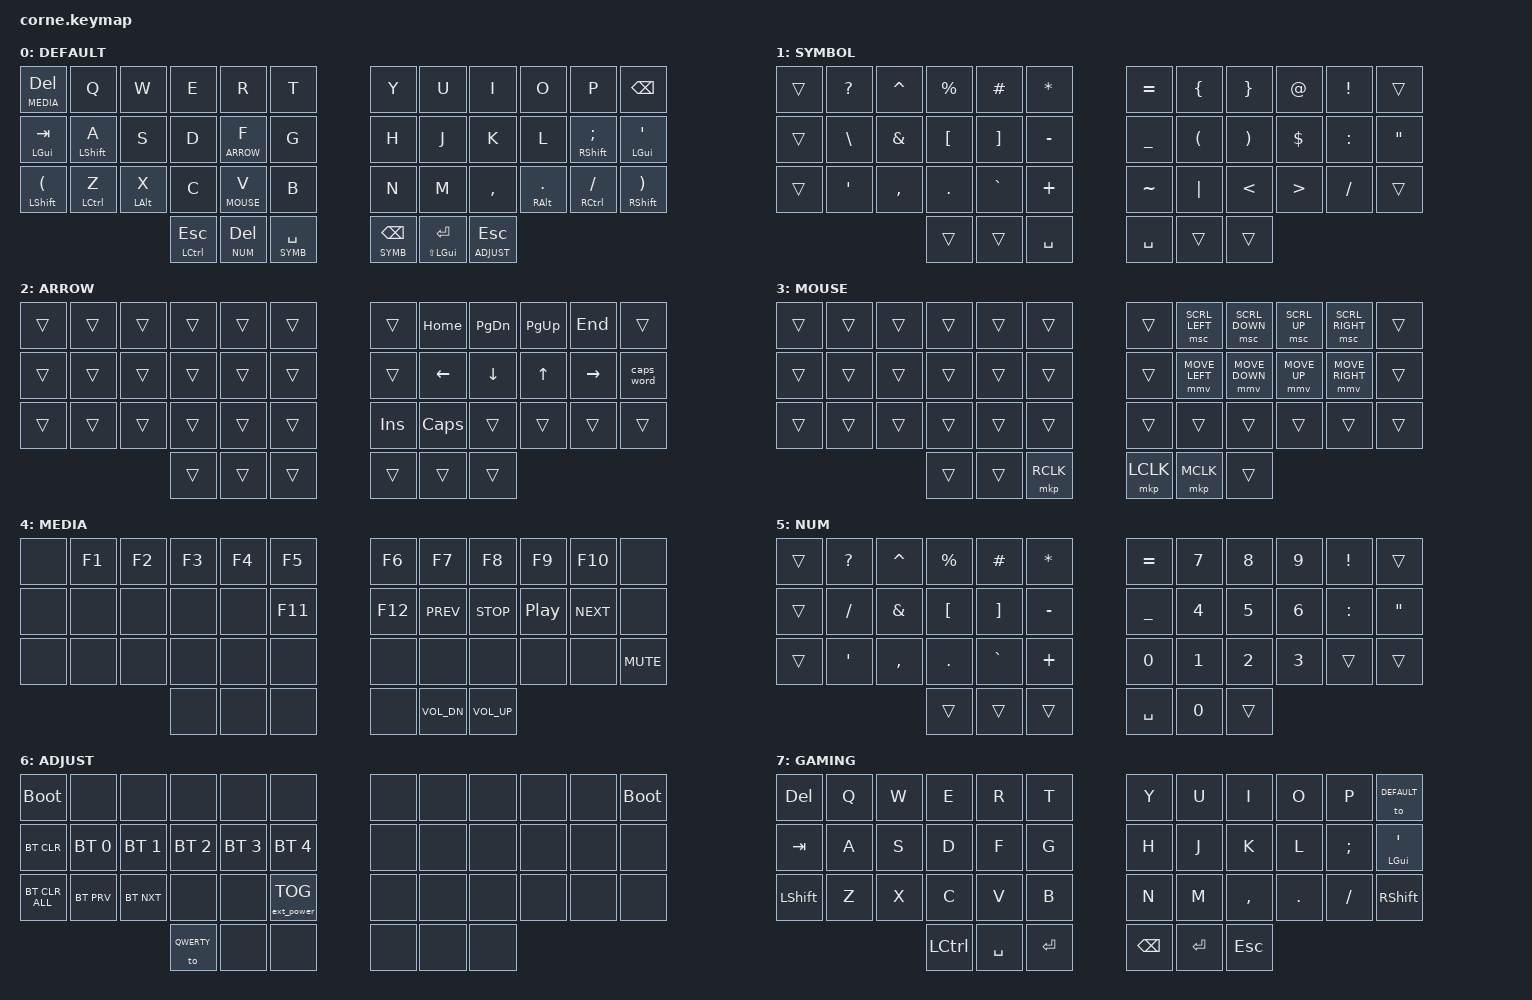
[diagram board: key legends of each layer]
#include <behaviors.dtsi>
#include <dt-bindings/zmk/keys.h>
#include <dt-bindings/zmk/bt.h>
#include <dt-bindings/zmk/ext_power.h>
#include <dt-bindings/zmk/pointing.h>

#define DEFAULT 0
#define SYMB    1
#define ARROW   2
#define MOUSE   3
#define MEDIA   4
#define NUM     5
#define ADJUST  6
#define QWERTY  7

/ {
    behaviors {
        hm: homerow_mod {
            compatible = "zmk,behavior-hold-tap";
            #binding-cells = <2>;
            tapping-term-ms = <200>;
            quick-tap-ms = <150>;
            flavor = "tap-preferred";
            bindings = <&kp>, <&kp>;
            // apparently deprecated
            // global-quick-tap;
            require-prior-idle-ms = <150>; // ← new syntax, explicit timing
        };

        sc_lspo: space_cadet_left {
            compatible = "zmk,behavior-hold-tap";
            #binding-cells = <2>;
            tapping-term-ms = <200>;
            flavor = "balanced";
            bindings = <&kp>, <&kp>;
        };

        rlt: repeat_layer_tap {
            compatible = "zmk,behavior-hold-tap";
            #binding-cells = <2>;
            flavor = "tap-preferred";
            tapping-term-ms = <200>;
            quick-tap-ms = <200>;
            bindings = <&mo>, <&kp>;
        };

    };

    keymap {
        compatible = "zmk,keymap";

        // ==========================================
        // Layer 0: DEFAULT
        // ==========================================
        default_layer {
            display-name = "DEFAULT";
            bindings = <
 // ╭──────────────────┬──────────────┬──────────────┬──────────────┬──────────────┬──────────────╮   ╭──────────────┬──────────────┬──────────────┬──────────────┬──────────────┬──────────────╮
      &rlt MEDIA DEL     &kp Q          &kp W          &kp E          &kp R          &kp T              &kp Y          &kp U          &kp I          &kp O          &kp P          &kp BSPC
 // ├──────────────────┼──────────────┼──────────────┼──────────────┼──────────────┼──────────────┤   ├──────────────┼──────────────┼──────────────┼──────────────┼──────────────┼──────────────┤
      &hm LGUI TAB       &hm LSHFT A    &kp S          &kp D          &rlt ARROW F   &kp G              &kp H          &kp J          &kp K          &kp L          &hm RSHFT SEMI &hm LGUI SQT
 // ├──────────────────┼──────────────┼──────────────┼──────────────┼──────────────┼──────────────┤   ├──────────────┼──────────────┼──────────────┼──────────────┼──────────────┼──────────────┤
      &sc_lspo LSHFT LPAR &hm LCTRL Z   &hm LALT X     &kp C          &rlt MOUSE V   &kp B              &kp N          &kp M          &kp COMMA      &hm RALT DOT   &hm RCTRL FSLH &sc_lspo RSHFT RPAR
 // ╰──────────────────┴──────────────┴──────────────┼──────────────┼──────────────┼──────────────┤   ├──────────────┼──────────────┼──────────────┼──────────────┴──────────────┴──────────────╯
                                                       &hm LCTRL ESC  &rlt NUM DEL   &rlt SYMB SPACE    &rlt SYMB BSPC &hm LS(LGUI) RET &rlt ADJUST ESC
 //                                                  ╰──────────────┴──────────────┴──────────────╯   ╰──────────────┴──────────────┴──────────────╯
            >;
        };

        // ==========================================
        // Layer 1: SYMB
        // ==========================================
        symb_layer {
            display-name = "SYMBOL";
            bindings = <
 // ╭──────────────────┬──────────────┬──────────────┬──────────────┬──────────────┬──────────────╮   ╭──────────────┬──────────────┬──────────────┬──────────────┬──────────────┬──────────────╮
      &trans             &kp QMARK      &kp CARET      &kp PRCNT      &kp HASH       &kp ASTRK          &kp EQUAL      &kp LBRC       &kp RBRC       &kp AT         &kp EXCL       &trans
 // ├──────────────────┼──────────────┼──────────────┼──────────────┼──────────────┼──────────────┤   ├──────────────┼──────────────┼──────────────┼──────────────┼──────────────┼──────────────┤
      &trans             &kp BSLH       &kp AMPS       &kp LBKT       &kp RBKT       &kp MINUS          &kp UNDER      &kp LPAR       &kp RPAR       &kp DLLR       &kp COLON      &kp DQT
 // ├──────────────────┼──────────────┼──────────────┼──────────────┼──────────────┼──────────────┤   ├──────────────┼──────────────┼──────────────┼──────────────┼──────────────┼──────────────┤
      &trans             &kp SQT        &kp COMMA      &kp DOT        &kp GRAVE      &kp PLUS           &kp TILDE      &kp PIPE       &kp LT         &kp GT         &kp FSLH       &trans
 // ╰──────────────────┴──────────────┴──────────────┼──────────────┼──────────────┼──────────────┤   ├──────────────┼──────────────┼──────────────┼──────────────┴──────────────┴──────────────╯
                                                       &trans         &trans         &kp SPACE           &kp SPACE      &trans         &trans
 //                                                  ╰──────────────┴──────────────┴──────────────╯   ╰──────────────┴──────────────┴──────────────╯
            >;
        };

        // ==========================================
        // Layer 2: ARROW (no repeat key, caps word enabled)
        // ==========================================
        arrow_layer {
            display-name = "ARROW";
            bindings = <
 // ╭──────────────────┬──────────────┬──────────────┬──────────────┬──────────────┬──────────────╮   ╭──────────────┬──────────────┬──────────────┬──────────────┬──────────────┬──────────────╮
      &trans             &trans         &trans         &trans         &trans         &trans              &trans         &kp HOME       &kp PG_DN      &kp PG_UP      &kp END        &trans
 // ├──────────────────┼──────────────┼──────────────┼──────────────┼──────────────┼──────────────┤   ├──────────────┼──────────────┼──────────────┼──────────────┼──────────────┼──────────────┤
      &trans             &trans         &trans         &trans         &trans         &trans              &trans         &kp LEFT       &kp DOWN       &kp UP         &kp RIGHT      &caps_word
 // ├──────────────────┼──────────────┼──────────────┼──────────────┼──────────────┼──────────────┤   ├──────────────┼──────────────┼──────────────┼──────────────┼──────────────┼──────────────┤
      &trans             &trans         &trans         &trans         &trans         &trans              &kp INS        &kp CAPS       &trans         &trans         &trans         &trans
 // ╰──────────────────┴──────────────┴──────────────┼──────────────┼──────────────┼──────────────┤   ├──────────────┼──────────────┼──────────────┼──────────────┴──────────────┴──────────────╯
                                                       &trans         &trans         &trans              &trans         &trans         &trans
 //                                                  ╰──────────────┴──────────────┴──────────────╯   ╰──────────────┴──────────────┴──────────────╯
            >;
        };

        // ==========================================
        // Layer 3: MOUSE (requires CONFIG_ZMK_POINTING=y)
        // ==========================================
        mouse_layer {
            display-name = "MOUSE";
            bindings = <
 // ╭──────────────────┬──────────────┬──────────────┬──────────────┬──────────────┬──────────────╮   ╭──────────────┬──────────────┬──────────────┬──────────────┬──────────────┬──────────────╮
      &trans             &trans         &trans         &trans         &trans         &trans              &trans         &msc SCRL_LEFT &msc SCRL_DOWN &msc SCRL_UP   &msc SCRL_RIGHT &trans
 // ├──────────────────┼──────────────┼──────────────┼──────────────┼──────────────┼──────────────┤   ├──────────────┼──────────────┼──────────────┼──────────────┼──────────────┼──────────────┤
      &trans             &trans         &trans         &trans         &trans         &trans              &trans         &mmv MOVE_LEFT &mmv MOVE_DOWN &mmv MOVE_UP   &mmv MOVE_RIGHT &trans
 // ├──────────────────┼──────────────┼──────────────┼──────────────┼──────────────┼──────────────┤   ├──────────────┼──────────────┼──────────────┼──────────────┼──────────────┼──────────────┤
      &trans             &trans         &trans         &trans         &trans         &trans              &trans         &trans         &trans         &trans         &trans         &trans
 // ╰──────────────────┴──────────────┴──────────────┼──────────────┼──────────────┼──────────────┤   ├──────────────┼──────────────┼──────────────┼──────────────┴──────────────┴──────────────╯
                                                       &trans         &trans         &mkp RCLK           &mkp LCLK      &mkp MCLK      &trans
 //                                                  ╰──────────────┴──────────────┴──────────────╯   ╰──────────────┴──────────────┴──────────────╯
            >;
        };

        // ==========================================
        // Layer 4: MEDIA
        // ==========================================
        media_layer {
            display-name = "MEDIA";
            bindings = <
 // ╭──────────────────┬──────────────┬──────────────┬──────────────┬──────────────┬──────────────╮   ╭──────────────┬──────────────┬──────────────┬──────────────┬──────────────┬──────────────╮
      &none              &kp F1         &kp F2         &kp F3         &kp F4         &kp F5              &kp F6         &kp F7         &kp F8         &kp F9         &kp F10        &none
 // ├──────────────────┼──────────────┼──────────────┼──────────────┼──────────────┼──────────────┤   ├──────────────┼──────────────┼──────────────┼──────────────┼──────────────┼──────────────┤
      &none              &none          &none          &none          &none          &kp F11             &kp F12        &kp C_PREV     &kp C_STOP     &kp C_PP       &kp C_NEXT     &none
 // ├──────────────────┼──────────────┼──────────────┼──────────────┼──────────────┼──────────────┤   ├──────────────┼──────────────┼──────────────┼──────────────┼──────────────┼──────────────┤
      &none              &none          &none          &none          &none          &none               &none          &none          &none          &none          &none          &kp C_MUTE
 // ╰──────────────────┴──────────────┴──────────────┼──────────────┼──────────────┼──────────────┤   ├──────────────┼──────────────┼──────────────┼──────────────┴──────────────┴──────────────╯
                                                       &none          &none          &none               &none          &kp C_VOL_DN   &kp C_VOL_UP
 //                                                  ╰──────────────┴──────────────┴──────────────╯   ╰──────────────┴──────────────┴──────────────╯
            >;
        };

        // ==========================================
        // Layer 5: NUM
        // ==========================================
        num_layer {
            display-name = "NUM";
            bindings = <
 // ╭──────────────────┬──────────────┬──────────────┬──────────────┬──────────────┬──────────────╮   ╭──────────────┬──────────────┬──────────────┬──────────────┬──────────────┬──────────────╮
      &trans             &kp QMARK      &kp CARET      &kp PRCNT      &kp HASH       &kp ASTRK          &kp EQUAL      &kp N7         &kp N8         &kp N9         &kp EXCL       &trans
 // ├──────────────────┼──────────────┼──────────────┼──────────────┼──────────────┼──────────────┤   ├──────────────┼──────────────┼──────────────┼──────────────┼──────────────┼──────────────┤
      &trans             &kp FSLH       &kp AMPS       &kp LBKT       &kp RBKT       &kp MINUS          &kp UNDER      &kp N4         &kp N5         &kp N6         &kp COLON      &kp DQT
 // ├──────────────────┼──────────────┼──────────────┼──────────────┼──────────────┼──────────────┤   ├──────────────┼──────────────┼──────────────┼──────────────┼──────────────┼──────────────┤
      &trans             &kp SQT        &kp COMMA      &kp DOT        &kp GRAVE      &kp PLUS           &kp N0         &kp N1         &kp N2         &kp N3         &trans         &trans
 // ╰──────────────────┴──────────────┴──────────────┼──────────────┼──────────────┼──────────────┤   ├──────────────┼──────────────┼──────────────┼──────────────┴──────────────┴──────────────╯
                                                       &trans         &trans         &trans              &kp SPACE      &kp N0         &trans
 //                                                  ╰──────────────┴──────────────┴──────────────╯   ╰──────────────┴──────────────┴──────────────╯
            >;
        };

        // ==========================================
        // Layer 6: ADJUST (Bluetooth + External Power)
        // ==========================================
        adjust_layer {
            display-name = "ADJUST";
            bindings = <
 // ╭──────────────────┬──────────────┬──────────────┬──────────────┬──────────────┬──────────────╮   ╭──────────────┬──────────────┬──────────────┬──────────────┬──────────────┬──────────────╮
      &bootloader        &none          &none          &none          &none          &none               &none          &none          &none          &none          &none          &bootloader
 // ├──────────────────┼──────────────┼──────────────┼──────────────┼──────────────┼──────────────┤   ├──────────────┼──────────────┼──────────────┼──────────────┼──────────────┼──────────────┤
      &bt BT_CLR         &bt BT_SEL 0   &bt BT_SEL 1   &bt BT_SEL 2   &bt BT_SEL 3   &bt BT_SEL 4      &none          &none          &none          &none          &none          &none
 // ├──────────────────┼──────────────┼──────────────┼──────────────┼──────────────┼──────────────┤   ├──────────────┼──────────────┼──────────────┼──────────────┼──────────────┼──────────────┤
      &bt BT_CLR_ALL     &bt BT_PRV     &bt BT_NXT     &none          &none     &ext_power EP_TOG      &none          &none          &none          &none          &none          &none
 // ╰──────────────────┴──────────────┴──────────────┼──────────────┼──────────────┼──────────────┤   ├──────────────┼──────────────┼──────────────┼──────────────┴──────────────┴──────────────╯
                                                       &to QWERTY     &none          &none               &none          &none          &none
 //                                                  ╰──────────────┴──────────────┴──────────────╯   ╰──────────────┴──────────────┴──────────────╯
            >;
        };

        // ==========================================
        // Layer 7: QWERTY
        // ==========================================
        qwerty_layer {
            display-name = "GAMING";
            bindings = <
 // ╭──────────────────┬──────────────┬──────────────┬──────────────┬──────────────┬──────────────╮   ╭──────────────┬──────────────┬──────────────┬──────────────┬──────────────┬──────────────╮
      &kp DEL            &kp Q          &kp W          &kp E          &kp R          &kp T               &kp Y          &kp U          &kp I          &kp O          &kp P          &to DEFAULT
 // ├──────────────────┼──────────────┼──────────────┼──────────────┼──────────────┼──────────────┤   ├──────────────┼──────────────┼──────────────┼──────────────┼──────────────┼──────────────┤
      &kp TAB            &kp A          &kp S          &kp D          &kp F          &kp G               &kp H          &kp J          &kp K          &kp L          &kp SEMI       &hm LGUI SQT
 // ├──────────────────┼──────────────┼──────────────┼──────────────┼──────────────┼──────────────┤   ├──────────────┼──────────────┼──────────────┼──────────────┼──────────────┼──────────────┤
      &kp LSHFT          &kp Z          &kp X          &kp C          &kp V          &kp B               &kp N          &kp M          &kp COMMA      &kp DOT        &kp FSLH       &kp RSHFT
 // ╰──────────────────┴──────────────┴──────────────┼──────────────┼──────────────┼──────────────┤   ├──────────────┼──────────────┼──────────────┼──────────────┴──────────────┴──────────────╯
                                                       &kp LCTRL      &kp SPACE      &kp RET             &kp BSPC       &kp RET        &kp ESC
 //                                                  ╰──────────────┴──────────────┴──────────────╯   ╰──────────────┴──────────────┴──────────────╯
            >;
        };
    };
};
